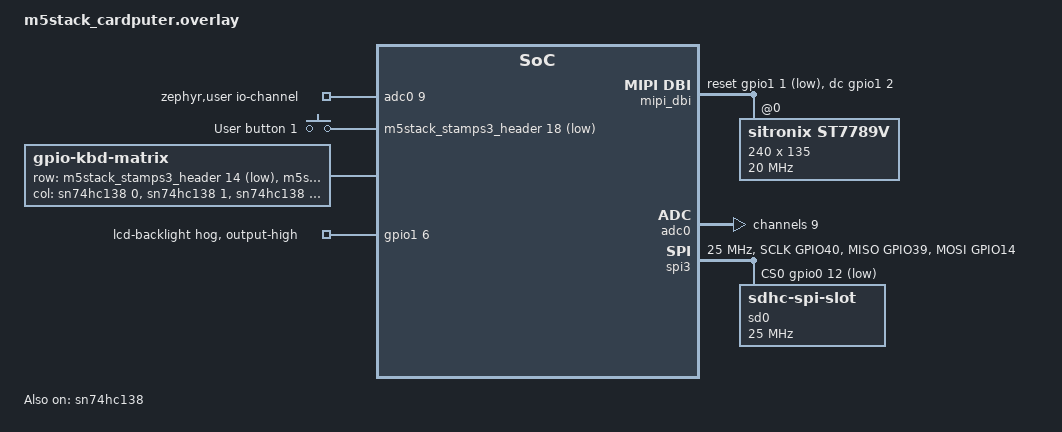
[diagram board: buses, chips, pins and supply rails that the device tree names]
/*
 * Copyright (c) 2025 Linaro Limited
 *
 * SPDX-License-Identifier: Apache-2.0
 */
#include <zephyr/dt-bindings/input/input-event-codes.h>

/ {
	zephyr,user {
		io-channels = <&adc0 9>;
	};

	aliases {
		/delete-property/ led-strip;
	};

	chosen {
		zephyr,display = &st7789v;
	};

	gpio_keys {
		compatible = "gpio-keys";

		// Button "G0"
		user_button_1: button_1 {
			label = "User button 1";
			gpios = <&m5stack_stamps3_header 18 GPIO_ACTIVE_LOW>;
			zephyr,code = <INPUT_KEY_0>;
		};

	};

	sn74hc138: sn74hc138@0 {
		compatible = "ti,sn74hc138";
		status = "okay";
		#address-cells = <1>;
		#size-cells = <0>;
		reg = <0 0x01>;
		gpio-controller;
		#gpio-cells = <2>;
		ngpios = <8>;
		input-a-gpios = <&m5stack_stamps3_header 7 GPIO_ACTIVE_HIGH>;
		input-b-gpios = <&m5stack_stamps3_header 8 GPIO_ACTIVE_HIGH>;
		input-c-gpios = <&m5stack_stamps3_header 11 GPIO_ACTIVE_HIGH>;
	};

	kbd-matrix {
		compatible = "gpio-kbd-matrix";
		status = "okay";
		row-gpios = <&m5stack_stamps3_header 14 (GPIO_PULL_UP | GPIO_ACTIVE_LOW)>,
								<&m5stack_stamps3_header 16 (GPIO_PULL_UP | GPIO_ACTIVE_LOW)>,
								<&m5stack_stamps3_header 2 (GPIO_PULL_UP | GPIO_ACTIVE_LOW)>,
								<&m5stack_stamps3_header 3 (GPIO_PULL_UP | GPIO_ACTIVE_LOW)>,
								<&m5stack_stamps3_header 4 (GPIO_PULL_UP | GPIO_ACTIVE_LOW)>,
								<&m5stack_stamps3_header 5 (GPIO_PULL_UP | GPIO_ACTIVE_LOW)>,
								<&m5stack_stamps3_header 6 (GPIO_PULL_UP | GPIO_ACTIVE_LOW)>;
		col-gpios = <&sn74hc138 0 GPIO_ACTIVE_HIGH>,
								<&sn74hc138 1 GPIO_ACTIVE_HIGH>,
								<&sn74hc138 2 GPIO_ACTIVE_HIGH>,
								<&sn74hc138 3 GPIO_ACTIVE_HIGH>,
								<&sn74hc138 4 GPIO_ACTIVE_HIGH>,
								<&sn74hc138 5 GPIO_ACTIVE_HIGH>,
								<&sn74hc138 6 GPIO_ACTIVE_HIGH>,
								<&sn74hc138 7 GPIO_ACTIVE_HIGH>;
		col-drive-inactive;
		idle-mode = "scan";
		//poll-period-ms = < 500 >;
		poll-timeout-ms = < 0 >;
	};

	mipi_dbi {
		compatible = "zephyr,mipi-dbi-spi";
		spi-dev = <&spi2>;
		dc-gpios = <&gpio1 2 GPIO_ACTIVE_HIGH>;
		reset-gpios = <&gpio1 1 GPIO_ACTIVE_LOW>;
		write-only;
		#address-cells = <1>;
		#size-cells = <0>;

		st7789v: st7789v@0 {
			compatible = "sitronix,st7789v";
			reg = <0>;
			mipi-max-frequency = <20000000>;
// The following parameters are for the display in vertical mode
			// width = <135>;
			// height = <240>;
			// x-offset = <53>;
			// y-offset = <40>;

// The following parameters are for the display in landscape mode
			width = <240>;
			height = <135>;
			x-offset = <40>;
			y-offset = <53>;
			vcom = <0x28>;
			gctrl = <0x35>;
			vrhs = <0x10>;
			vdvs = <0x20>;
			// mdac = <0x00>;
			mdac = <0x60>;  // rotates by 270 degrees
			gamma = <0x01>;
			colmod = <0x55>;
			lcm = <0x2c>;
			porch-param = [0c 0c 00 33 33];
			cmd2en-param = [5a 69 02 00];
			pwctrl1-param = [a4 a1];
			pvgam-param = [d0 00 02 07 0a 28 32 44 42 06 0e 12 14 17];
			nvgam-param = [d0 00 02 07 0a 28 31 54 47 0e 1c 17 1b 1e];
			ram-param = [00 F0];
			rgb-param = [40 02 14];
			mipi-mode = "MIPI_DBI_MODE_SPI_4WIRE";
		};
	};
};

/delete-node/ &status_rgb_led;

&pinctrl {
	spim2_default: spim2_default {
		group1 {
			pinmux = <SPIM2_SCLK_GPIO36>,
				 <SPIM2_CSEL_GPIO37>;
		};

		group2 {
			pinmux = <SPIM2_MOSI_GPIO35>;
			output-low;
		};
	};

	spim3_default: spim3_default {
		group1 {
			pinmux = <SPIM3_SCLK_GPIO40>,
				 <SPIM3_MISO_GPIO39>;
		};

		group2 {
			pinmux = <SPIM3_MOSI_GPIO14>;
			output-low;
		};
	};

	i2c1_default: i2c1_default {
		group1 {
			pinmux = <I2C1_SDA_GPIO1>,
				 <I2C1_SCL_GPIO2>;
			bias-pull-up;
			drive-open-drain;
			output-high;
		};
	};
};

&adc0 {
	status = "okay";
	#address-cells = <1>;
	#size-cells = <0>;

	channel@9 {
		reg = <9>;
		zephyr,gain = "ADC_GAIN_1_4";
		zephyr,reference = "ADC_REF_INTERNAL";
		zephyr,acquisition-time = <ADC_ACQ_TIME_DEFAULT>;
		zephyr,resolution = <12>;
	};
};

&spi3 {
	status = "okay";
	#address-cells = <1>;
	#size-cells = <0>;
	status = "okay";
	pinctrl-0 = <&spim3_default>;
	pinctrl-names = "default";
	clock-frequency = <25000000>;
	cs-gpios = <&gpio0 12 GPIO_ACTIVE_LOW>; /* TF-CARD */

	sd0: sd@0 {
		compatible = "zephyr,sdhc-spi-slot";
		reg = <0>;
		status = "okay";
		spi-max-frequency = <25000000>;

		mmc {
			compatible = "zephyr,sdmmc-disk";
			disk-name = "SD";
			status = "okay";
		};
	};
};

&gpio1 {
	status = "okay";

	lcd-backlight {
		gpio-hog;
		gpios = <6 GPIO_ACTIVE_HIGH>;
		output-high;
	};
};
